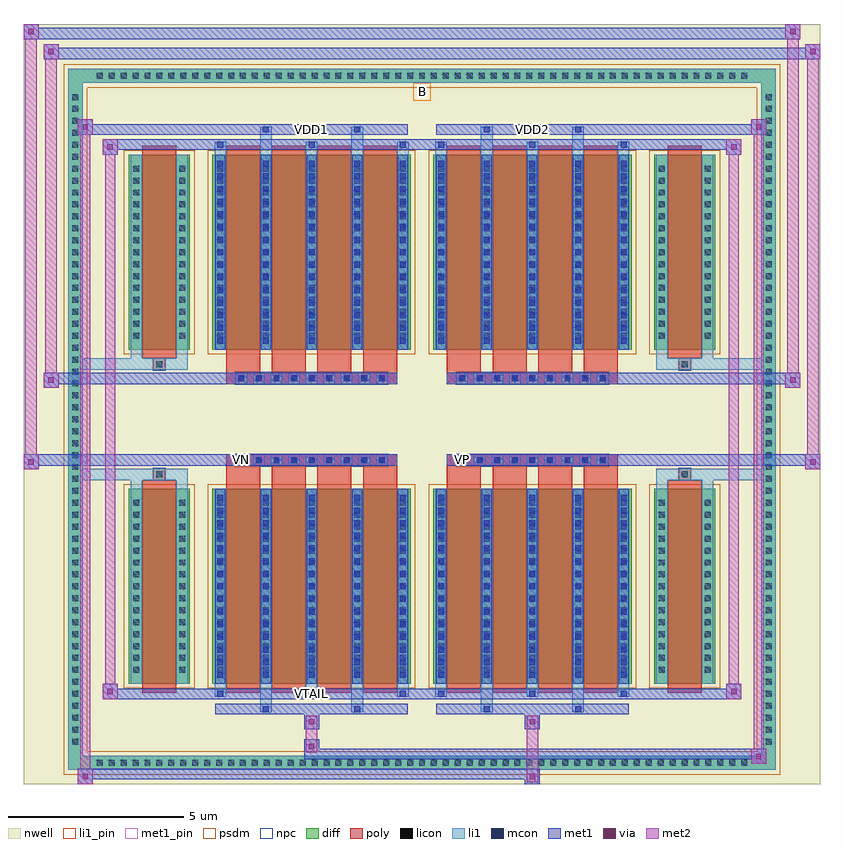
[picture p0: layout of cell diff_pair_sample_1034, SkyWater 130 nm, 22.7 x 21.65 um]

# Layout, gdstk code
import gdstk
lib = gdstk.Library(unit=1e-6, precision=5e-09)
def R(c, l, rs):  # rectangles x0, y0, x1, y1
    for r in rs: c.add(gdstk.rectangle(r[:2], r[2:], *l))
def A(c, l, x, y, w, h, nx, ny, dx, dy):  # array of equal rectangles
    R(c, l, [(x+i*dx, y+j*dy, x+i*dx+w, y+j*dy+h) for i in range(nx) for j in range(ny)])
def P(c, l, *ps):  # polygons
    for p in ps: c.add(gdstk.Polygon(p, *l))
nwell = (64, 20)
diff = (65, 20)
poly = (66, 20)
licon = (66, 44)
li1_pin = (67, 16)
li1 = (67, 20)
mcon = (67, 44)
met1_pin = (68, 16)
met1 = (68, 20)
via = (68, 44)
met2 = (69, 20)
psdm = (94, 20)
npc = (95, 20)

diff_pair_sample_1034 = lib.new_cell('diff_pair_sample_1034')
R(diff_pair_sample_1034, nwell, [(-11.35,-10.39,11.35,11.26), (-8.67,-8.58,-0.01,-0.8), (0.01,-8.58,8.67,-0.8), (-8.67,0.8,-0.01,8.58), (0.01,0.8,8.67,8.58)])
A(diff_pair_sample_1034, diff, -9.385, -9.99, 0.41, 0.41, 55, 2, 0.34, 19.57)
A(diff_pair_sample_1034, diff, -10.08, -9.385, 0.41, 0.41, 1, 55, 0, 0.34)
A(diff_pair_sample_1034, diff, 9.67, -9.385, 0.41, 0.41, 1, 55, 0, 0.34)
R(diff_pair_sample_1034, diff, [(-9.385,-9.99,9.385,-9.58), (-10.08,-9.385,-9.67,9.385), (9.67,-9.385,10.08,9.385), (-8.36,-7.535,-6.61,-1.985), (-5.97,-7.535,-0.32,-1.985), (0.32,-7.535,5.97,-1.985), (6.61,-7.535,8.36,-1.985), (-8.36,1.985,-6.61,7.535), (-5.97,1.985,-0.32,7.535), (0.32,1.985,5.97,7.535), (6.61,1.985,8.36,7.535), (-9.385,9.58,9.385,9.99)])
P(diff_pair_sample_1034, diff, [(10.08,9.99),(-10.08,9.99),(-10.08,-9.58),(-9.67,-9.58),(-9.67,9.58),(9.67,9.58),(9.67,-9.58),(-9.67,-9.58),(-10.08,-9.58),(-10.08,-9.99),(10.08,-9.99)])
A(diff_pair_sample_1034, poly, -5.58, -7.785, 0.97, 6.05, 4, 2, 1.3, 9.52)
A(diff_pair_sample_1034, poly, 0.71, -7.785, 0.97, 6.05, 4, 2, 1.3, 9.52)
A(diff_pair_sample_1034, poly, -5.58, -1.735, 0.97, 0.405, 4, 2, 1.3, 3.065)
A(diff_pair_sample_1034, poly, 0.71, -1.735, 0.97, 0.405, 4, 2, 1.3, 3.065)
A(diff_pair_sample_1034, poly, -5.31, -1.33, 0.33, 0.33, 9, 2, 0.5, 2.33)
A(diff_pair_sample_1034, poly, 0.98, -1.33, 0.33, 0.33, 9, 2, 0.5, 2.33)
R(diff_pair_sample_1034, poly, [(-7.97,-7.785,-7,-1.735), (7,-7.785,7.97,-1.735), (-7.65,-1.735,-7.32,-1.405), (-7.65,-1.735,-7.32,-1.405), (7.32,-1.735,7.65,-1.405), (7.32,-1.735,7.65,-1.405), (-5.58,-1.33,-0.71,-1), (0.71,-1.33,5.58,-1), (-5.58,1,-0.71,1.33), (0.71,1,5.58,1.33), (-7.65,1.405,-7.32,1.735), (-7.65,1.405,-7.32,1.735), (7.32,1.405,7.65,1.735), (7.32,1.405,7.65,1.735), (-7.97,1.735,-7,7.785), (7,1.735,7.97,7.785)])
A(diff_pair_sample_1034, licon, -9.265, -9.87, 0.17, 0.17, 55, 2, 0.34, 19.57)
A(diff_pair_sample_1034, licon, -9.96, -9.265, 0.17, 0.17, 1, 55, 0, 0.34)
A(diff_pair_sample_1034, licon, 9.79, -9.265, 0.17, 0.17, 1, 55, 0, 0.34)
A(diff_pair_sample_1034, licon, -8.22, -7.225, 0.17, 0.17, 1, 15, 0, 0.34)
A(diff_pair_sample_1034, licon, -6.92, -7.225, 0.17, 0.17, 1, 15, 0, 0.34)
A(diff_pair_sample_1034, licon, -5.83, -7.225, 0.17, 0.17, 5, 15, 1.3, 0.34)
A(diff_pair_sample_1034, licon, 0.46, -7.225, 0.17, 0.17, 5, 15, 1.3, 0.34)
A(diff_pair_sample_1034, licon, 6.75, -7.225, 0.17, 0.17, 1, 15, 0, 0.34)
A(diff_pair_sample_1034, licon, 8.05, -7.225, 0.17, 0.17, 1, 15, 0, 0.34)
A(diff_pair_sample_1034, licon, -5.23, -1.25, 0.17, 0.17, 9, 2, 0.5, 2.33)
A(diff_pair_sample_1034, licon, 1.06, -1.25, 0.17, 0.17, 9, 2, 0.5, 2.33)
A(diff_pair_sample_1034, licon, -8.22, 2.295, 0.17, 0.17, 1, 15, 0, 0.34)
A(diff_pair_sample_1034, licon, -6.92, 2.295, 0.17, 0.17, 1, 15, 0, 0.34)
A(diff_pair_sample_1034, licon, -5.83, 2.295, 0.17, 0.17, 5, 15, 1.3, 0.34)
A(diff_pair_sample_1034, licon, 0.46, 2.295, 0.17, 0.17, 5, 15, 1.3, 0.34)
A(diff_pair_sample_1034, licon, 6.75, 2.295, 0.17, 0.17, 1, 15, 0, 0.34)
A(diff_pair_sample_1034, licon, 8.05, 2.295, 0.17, 0.17, 1, 15, 0, 0.34)
R(diff_pair_sample_1034, licon, [(-7.57,-1.655,-7.4,-1.485), (7.4,-1.655,7.57,-1.485), (-7.57,1.485,-7.4,1.655), (7.4,1.485,7.57,1.655)])
R(diff_pair_sample_1034, li1_pin, [(-0.25,9.08,0.25,9.58)])
A(diff_pair_sample_1034, li1, -9.345, -9.95, 0.33, 0.33, 55, 2, 0.34, 19.57)
A(diff_pair_sample_1034, li1, -10.04, -9.345, 0.33, 0.33, 1, 55, 0, 0.34)
A(diff_pair_sample_1034, li1, 9.71, -9.345, 0.33, 0.33, 1, 55, 0, 0.34)
A(diff_pair_sample_1034, li1, -5.91, -7.91, 0.33, 0.375, 3, 2, 2.6, 15.445)
A(diff_pair_sample_1034, li1, -5.83, -7.91, 0.17, 0.17, 3, 2, 2.6, 15.65)
A(diff_pair_sample_1034, li1, 0.38, -7.91, 0.33, 0.375, 3, 2, 2.6, 15.445)
A(diff_pair_sample_1034, li1, 0.46, -7.91, 0.17, 0.17, 3, 2, 2.6, 15.65)
A(diff_pair_sample_1034, li1, -5.91, -7.535, 0.33, 5.55, 5, 2, 1.3, 9.52)
A(diff_pair_sample_1034, li1, 0.38, -7.535, 0.33, 5.55, 5, 2, 1.3, 9.52)
A(diff_pair_sample_1034, li1, -5.83, -7.365, 0.17, 0.17, 5, 15, 1.3, 0.36)
A(diff_pair_sample_1034, li1, -5.83, -7.365, 0.17, 5.21, 5, 2, 1.3, 9.52)
A(diff_pair_sample_1034, li1, 0.46, -7.365, 0.17, 0.17, 5, 15, 1.3, 0.36)
A(diff_pair_sample_1034, li1, 0.46, -7.365, 0.17, 5.21, 5, 2, 1.3, 9.52)
A(diff_pair_sample_1034, li1, -8.3, -7.305, 0.33, 0.33, 1, 15, 0, 0.34)
A(diff_pair_sample_1034, li1, -7, -7.305, 0.33, 0.33, 1, 15, 0, 0.34)
A(diff_pair_sample_1034, li1, -5.91, -7.305, 0.33, 0.33, 5, 15, 1.3, 0.34)
A(diff_pair_sample_1034, li1, 0.38, -7.305, 0.33, 0.33, 5, 15, 1.3, 0.34)
A(diff_pair_sample_1034, li1, 6.67, -7.305, 0.33, 0.33, 1, 15, 0, 0.34)
A(diff_pair_sample_1034, li1, 7.97, -7.305, 0.33, 0.33, 1, 15, 0, 0.34)
A(diff_pair_sample_1034, li1, -5.31, -1.33, 0.33, 0.33, 9, 2, 0.5, 2.33)
A(diff_pair_sample_1034, li1, 0.98, -1.33, 0.33, 0.33, 9, 2, 0.5, 2.33)
A(diff_pair_sample_1034, li1, -5.83, 2.155, 0.17, 0.17, 5, 15, 1.3, 0.36)
A(diff_pair_sample_1034, li1, 0.46, 2.155, 0.17, 0.17, 5, 15, 1.3, 0.36)
A(diff_pair_sample_1034, li1, -8.3, 2.215, 0.33, 0.33, 1, 15, 0, 0.34)
A(diff_pair_sample_1034, li1, -7, 2.215, 0.33, 0.33, 1, 15, 0, 0.34)
A(diff_pair_sample_1034, li1, -5.91, 2.215, 0.33, 0.33, 5, 15, 1.3, 0.34)
A(diff_pair_sample_1034, li1, 0.38, 2.215, 0.33, 0.33, 5, 15, 1.3, 0.34)
A(diff_pair_sample_1034, li1, 6.67, 2.215, 0.33, 0.33, 1, 15, 0, 0.34)
A(diff_pair_sample_1034, li1, 7.97, 2.215, 0.33, 0.33, 1, 15, 0, 0.34)
R(diff_pair_sample_1034, li1, [(-10.08,-9.99,-9.67,-9.58), (-10.08,-9.99,-9.67,-9.58), (-9.67,-9.99,9.67,-9.58), (9.67,-9.99,10.08,-9.58), (9.67,-9.99,10.08,-9.58), (-10.08,-9.58,-9.67,9.58), (9.67,-9.58,10.08,9.58), (-4.61,-8.34,-4.28,-7.535), (-4.53,-8.34,-4.36,-8.17), (-2.01,-8.34,-1.68,-7.535), (-1.93,-8.34,-1.76,-8.17), (1.68,-8.34,2.01,-7.535), (1.76,-8.34,1.93,-8.17), (4.28,-8.34,4.61,-7.535), (4.36,-8.34,4.53,-8.17), (-8.3,-7.535,-7.97,-1.985), (-7,-7.535,-6.67,-1.985), (6.67,-7.535,7,-1.985), (7.97,-7.535,8.3,-1.985), (-8.3,-1.985,-7.97,-1.405), (-7,-1.985,-6.67,-1.405), (6.67,-1.985,7,-1.405), (7.97,-1.985,8.3,-1.405), (-10.08,-1.735,-7.65,-1.405), (-8.3,-1.735,-7.65,-1.405), (-7.65,-1.735,-7.32,-1.405), (-7.32,-1.735,-6.67,-1.405), (6.67,-1.735,7.32,-1.405), (7.32,-1.735,7.65,-1.405), (7.32,-1.735,10.08,-1.405), (7.65,-1.735,8.3,-1.405), (-10.08,1.405,-7.65,1.735), (-8.3,1.405,-7.65,1.735), (-8.3,1.405,-7.97,1.985), (-7.65,1.405,-7.32,1.735), (-7.32,1.405,-6.67,1.735), (-7,1.405,-6.67,1.985), (6.67,1.405,7.32,1.735), (6.67,1.405,7,1.985), (7.32,1.405,7.65,1.735), (7.32,1.405,10.08,1.735), (7.65,1.405,8.3,1.735), (7.97,1.405,8.3,1.985), (-8.3,1.985,-7.97,7.535), (-7,1.985,-6.67,7.535), (6.67,1.985,7,7.535), (7.97,1.985,8.3,7.535), (-4.61,7.535,-4.28,8.34), (-2.01,7.535,-1.68,8.34), (1.68,7.535,2.01,8.34), (4.28,7.535,4.61,8.34), (-4.53,8.17,-4.36,8.34), (-1.93,8.17,-1.76,8.34), (1.76,8.17,1.93,8.34), (4.36,8.17,4.53,8.34), (-10.08,9.58,-9.67,9.99), (-10.08,9.58,-9.67,9.99), (-9.67,9.58,9.67,9.99), (9.67,9.58,10.08,9.99), (9.67,9.58,10.08,9.99)])
A(diff_pair_sample_1034, mcon, -5.83, -7.91, 0.17, 0.17, 3, 2, 2.6, 15.65)
A(diff_pair_sample_1034, mcon, 0.46, -7.91, 0.17, 0.17, 3, 2, 2.6, 15.65)
A(diff_pair_sample_1034, mcon, -5.83, -7.365, 0.17, 0.17, 5, 15, 1.3, 0.36)
A(diff_pair_sample_1034, mcon, 0.46, -7.365, 0.17, 0.17, 5, 15, 1.3, 0.36)
A(diff_pair_sample_1034, mcon, -5.23, -1.25, 0.17, 0.17, 9, 2, 0.5, 2.33)
A(diff_pair_sample_1034, mcon, 1.06, -1.25, 0.17, 0.17, 9, 2, 0.5, 2.33)
A(diff_pair_sample_1034, mcon, -5.83, 2.155, 0.17, 0.17, 5, 15, 1.3, 0.36)
A(diff_pair_sample_1034, mcon, 0.46, 2.155, 0.17, 0.17, 5, 15, 1.3, 0.36)
R(diff_pair_sample_1034, mcon, [(-4.53,-8.34,-4.36,-8.17), (-1.93,-8.34,-1.76,-8.17), (1.76,-8.34,1.93,-8.17), (4.36,-8.34,4.53,-8.17), (-4.53,8.17,-4.36,8.34), (-1.93,8.17,-1.76,8.34), (1.76,8.17,1.93,8.34), (4.36,8.17,4.53,8.34)])
R(diff_pair_sample_1034, met1_pin, [(-3.28,-7.95,-3.01,-7.68), (-5.28,-1.29,-5.01,-1.02), (1.01,-1.29,1.28,-1.02), (-3.28,8.13,-3.01,8.4), (3.01,8.13,3.28,8.4)])
A(diff_pair_sample_1034, met1, -5.89, -7.97, 0.29, 0.29, 3, 2, 2.6, 15.65)
A(diff_pair_sample_1034, met1, 0.4, -7.97, 0.29, 0.29, 3, 2, 2.6, 15.65)
A(diff_pair_sample_1034, met1, -5.89, -7.535, 0.29, 5.55, 5, 2, 1.3, 9.52)
A(diff_pair_sample_1034, met1, 0.4, -7.535, 0.29, 5.55, 5, 2, 1.3, 9.52)
A(diff_pair_sample_1034, met1, -5.89, -7.425, 0.29, 0.29, 5, 15, 1.3, 0.36)
A(diff_pair_sample_1034, met1, 0.4, -7.425, 0.29, 0.29, 5, 15, 1.3, 0.36)
A(diff_pair_sample_1034, met1, -5.29, -1.31, 0.29, 0.29, 9, 2, 0.5, 2.33)
A(diff_pair_sample_1034, met1, 1, -1.31, 0.29, 0.29, 9, 2, 0.5, 2.33)
A(diff_pair_sample_1034, met1, -5.89, 2.095, 0.29, 0.29, 5, 15, 1.3, 0.36)
A(diff_pair_sample_1034, met1, 0.4, 2.095, 0.29, 0.29, 5, 15, 1.3, 0.36)
R(diff_pair_sample_1034, met1, [(-9.81,-10.39,-9.38,-9.96), (2.93,-10.39,3.36,-9.96), (-9.81,-10.25,3.36,-9.96), (9.38,-9.82,9.81,-9.39), (-3.36,-9.68,9.81,-9.39), (-3.36,-9.54,-2.93,-9.11), (-3.36,-8.83,-2.93,-8.4), (2.93,-8.83,3.36,-8.4), (-5.89,-8.4,-0.4,-8.11), (-4.59,-8.4,-4.3,-8.11), (-1.99,-8.4,-1.7,-8.11), (0.4,-8.4,5.89,-8.11), (1.7,-8.4,1.99,-8.11), (4.3,-8.4,4.59,-8.11), (-9.1,-7.97,-8.67,-7.54), (-9.1,-7.97,-5.89,-7.68), (-5.89,-7.97,-0.4,-7.68), (-0.4,-7.97,0.4,-7.68), (0.4,-7.97,5.89,-7.68), (5.89,-7.97,9.1,-7.68), (8.67,-7.97,9.1,-7.54), (-11.35,-1.43,-10.92,-1), (10.92,-1.43,11.35,-1), (-11.35,-1.33,-0.71,-1), (-5.58,-1.33,-0.71,-1), (0.71,-1.33,5.58,-1), (0.71,-1.33,11.35,-1), (-10.78,0.9,-10.35,1.33), (10.35,0.9,10.78,1.33), (-10.78,1,-5.58,1.33), (-5.58,1,-0.71,1.33), (0.71,1,5.58,1.33), (5.58,1,10.78,1.33), (-9.1,7.54,-8.67,7.97), (8.67,7.54,9.1,7.97), (-9.1,7.68,-5.89,7.97), (-5.89,7.68,-0.4,7.97), (-0.4,7.68,0.4,7.97), (0.4,7.68,5.89,7.97), (5.89,7.68,9.1,7.97), (-9.81,8.11,-9.38,8.54), (-9.81,8.11,-5.89,8.4), (-5.89,8.11,-0.4,8.4), (-4.59,8.11,-4.3,8.4), (-1.99,8.11,-1.7,8.4), (0.4,8.11,5.89,8.4), (1.7,8.11,1.99,8.4), (4.3,8.11,4.59,8.4), (5.89,8.11,9.81,8.4), (9.38,8.11,9.81,8.54), (-10.78,10.26,-10.35,10.69), (-10.78,10.26,-8.67,10.59), (-8.67,10.26,8.67,10.59), (8.67,10.26,11.35,10.59), (10.92,10.26,11.35,10.69), (-11.35,10.83,-10.92,11.26), (-11.35,10.83,-8.67,11.16), (-8.67,10.83,8.67,11.16), (8.67,10.83,10.78,11.16), (10.35,10.83,10.78,11.26)])
R(diff_pair_sample_1034, via, [(-9.67,-10.25,-9.52,-10.1), (3.07,-10.25,3.22,-10.1), (9.52,-9.68,9.67,-9.53), (-3.22,-9.4,-3.07,-9.25), (-3.22,-8.69,-3.07,-8.54), (3.07,-8.69,3.22,-8.54), (-8.96,-7.83,-8.81,-7.68), (8.81,-7.83,8.96,-7.68), (-11.21,-1.29,-11.06,-1.14), (11.06,-1.29,11.21,-1.14), (-10.64,1.04,-10.49,1.19), (10.49,1.04,10.64,1.19), (-8.96,7.68,-8.81,7.83), (8.81,7.68,8.96,7.83), (-9.67,8.25,-9.52,8.4), (9.52,8.25,9.67,8.4), (-10.64,10.4,-10.49,10.55), (11.06,10.4,11.21,10.55), (-11.21,10.97,-11.06,11.12), (10.49,10.97,10.64,11.12)])
R(diff_pair_sample_1034, met2, [(-9.81,-10.39,-9.38,-9.96), (-9.74,-10.39,-9.45,8.54), (-9.45,-10.39,-9.38,-9.96), (-9.76,-10.34,-9.43,-10.01), (2.98,-10.34,3.31,-10.01), (2.98,-10.01,3.31,-8.78), (9.38,-9.82,9.81,-9.39), (9.45,-9.82,9.74,8.54), (9.74,-9.82,9.81,-9.39), (9.43,-9.77,9.76,-9.44), (-3.31,-9.49,-2.98,-9.16), (-3.31,-9.16,-2.98,-8.78), (-3.31,-8.78,-2.98,-8.45), (2.98,-8.78,3.31,-8.45), (-9.1,-7.97,-8.67,-7.54), (-9.03,-7.97,-8.74,7.97), (-8.74,-7.97,-8.67,-7.54), (8.67,-7.97,9.1,-7.54), (8.74,-7.97,9.03,7.97), (9.03,-7.97,9.1,-7.54), (-9.05,-7.92,-8.72,-7.59), (8.72,-7.92,9.05,-7.59), (-11.35,-1.43,-10.92,-1), (-11.3,-1.43,-10.97,11.26), (-10.97,-1.43,-10.92,-1), (10.92,-1.43,11.35,-1), (10.97,-1.43,11.3,10.69), (11.3,-1.43,11.35,-1), (-11.3,-1.38,-10.97,-1.05), (10.97,-1.38,11.3,-1.05), (-10.78,0.9,-10.35,1.33), (-10.73,0.9,-10.4,10.69), (-10.4,0.9,-10.35,1.33), (10.35,0.9,10.78,1.33), (10.4,0.9,10.73,11.26), (10.73,0.9,10.78,1.33), (-10.73,0.95,-10.4,1.28), (10.4,0.95,10.73,1.28), (-9.1,7.54,-8.67,7.97), (-8.74,7.54,-8.67,7.97), (8.67,7.54,9.1,7.97), (9.03,7.54,9.1,7.97), (-9.05,7.59,-8.72,7.92), (8.72,7.59,9.05,7.92), (-9.81,8.11,-9.38,8.54), (-9.45,8.11,-9.38,8.54), (9.38,8.11,9.81,8.54), (9.74,8.11,9.81,8.54), (-9.76,8.16,-9.43,8.49), (9.43,8.16,9.76,8.49), (-10.78,10.26,-10.35,10.69), (-10.4,10.26,-10.35,10.69), (10.92,10.26,11.35,10.69), (11.3,10.26,11.35,10.69), (-10.73,10.31,-10.4,10.64), (10.97,10.31,11.3,10.64), (-11.35,10.83,-10.92,11.26), (-10.97,10.83,-10.92,11.26), (10.35,10.83,10.78,11.26), (10.73,10.83,10.78,11.26), (-11.3,10.88,-10.97,11.21), (10.4,10.88,10.73,11.21)])
R(diff_pair_sample_1034, psdm, [(-8.49,-7.665,-6.48,-1.855), (-6.1,-7.665,-0.19,-1.855), (0.19,-7.665,6.1,-1.855), (6.48,-7.665,8.49,-1.855), (-8.49,1.855,-6.48,7.665), (-6.1,1.855,-0.19,7.665), (0.19,1.855,6.1,7.665), (6.48,1.855,8.49,7.665)])
P(diff_pair_sample_1034, psdm, [(10.21,10.12),(-10.21,10.12),(-10.21,-9.45),(-9.54,-9.45),(-9.54,9.45),(9.54,9.45),(9.54,-9.45),(-9.54,-9.45),(-10.21,-9.45),(-10.21,-10.12),(10.21,-10.12)])
A(diff_pair_sample_1034, npc, -5.33, -1.35, 0.37, 0.37, 9, 2, 0.5, 2.33)
A(diff_pair_sample_1034, npc, 0.96, -1.35, 0.37, 0.37, 9, 2, 0.5, 2.33)
R(diff_pair_sample_1034, npc, [(-7.67,-1.755,-7.3,-1.385), (7.3,-1.755,7.67,-1.385), (-5.33,-1.35,-4.46,-0.98), (-5.33,-1.35,-4.46,-0.98), (-4.83,-1.35,-3.96,-0.98), (-4.83,-1.35,-3.96,-0.98), (-4.33,-1.35,-3.46,-0.98), (-4.33,-1.35,-3.46,-0.98), (-3.83,-1.35,-2.96,-0.98), (-3.83,-1.35,-2.96,-0.98), (-3.33,-1.35,-2.46,-0.98), (-3.33,-1.35,-2.46,-0.98), (-2.83,-1.35,-1.96,-0.98), (-2.83,-1.35,-1.96,-0.98), (-2.33,-1.35,-1.46,-0.98), (-2.33,-1.35,-1.46,-0.98), (-1.83,-1.35,-0.96,-0.98), (-1.83,-1.35,-0.96,-0.98), (0.96,-1.35,1.83,-0.98), (0.96,-1.35,1.83,-0.98), (1.46,-1.35,2.33,-0.98), (1.46,-1.35,2.33,-0.98), (1.96,-1.35,2.83,-0.98), (1.96,-1.35,2.83,-0.98), (2.46,-1.35,3.33,-0.98), (2.46,-1.35,3.33,-0.98), (2.96,-1.35,3.83,-0.98), (2.96,-1.35,3.83,-0.98), (3.46,-1.35,4.33,-0.98), (3.46,-1.35,4.33,-0.98), (3.96,-1.35,4.83,-0.98), (3.96,-1.35,4.83,-0.98), (4.46,-1.35,5.33,-0.98), (4.46,-1.35,5.33,-0.98), (-5.33,0.98,-4.46,1.35), (-5.33,0.98,-4.46,1.35), (-4.83,0.98,-3.96,1.35), (-4.83,0.98,-3.96,1.35), (-4.33,0.98,-3.46,1.35), (-4.33,0.98,-3.46,1.35), (-3.83,0.98,-2.96,1.35), (-3.83,0.98,-2.96,1.35), (-3.33,0.98,-2.46,1.35), (-3.33,0.98,-2.46,1.35), (-2.83,0.98,-1.96,1.35), (-2.83,0.98,-1.96,1.35), (-2.33,0.98,-1.46,1.35), (-2.33,0.98,-1.46,1.35), (-1.83,0.98,-0.96,1.35), (-1.83,0.98,-0.96,1.35), (0.96,0.98,1.83,1.35), (0.96,0.98,1.83,1.35), (1.46,0.98,2.33,1.35), (1.46,0.98,2.33,1.35), (1.96,0.98,2.83,1.35), (1.96,0.98,2.83,1.35), (2.46,0.98,3.33,1.35), (2.46,0.98,3.33,1.35), (2.96,0.98,3.83,1.35), (2.96,0.98,3.83,1.35), (3.46,0.98,4.33,1.35), (3.46,0.98,4.33,1.35), (3.96,0.98,4.83,1.35), (3.96,0.98,4.83,1.35), (4.46,0.98,5.33,1.35), (4.46,0.98,5.33,1.35), (-7.67,1.385,-7.3,1.755), (7.3,1.385,7.67,1.755)])
diff_pair_sample_1034.add(gdstk.Label('VTAIL', (-3.145,-7.815), layer=68, texttype=5))
diff_pair_sample_1034.add(gdstk.Label('VN', (-5.145,-1.155), layer=68, texttype=5))
diff_pair_sample_1034.add(gdstk.Label('VP', (1.145,-1.155), layer=68, texttype=5))
diff_pair_sample_1034.add(gdstk.Label('B', (0,9.33), layer=67, texttype=5))
diff_pair_sample_1034.add(gdstk.Label('VDD2', (3.145,8.265), layer=68, texttype=5))
diff_pair_sample_1034.add(gdstk.Label('VDD1', (-3.145,8.265), layer=68, texttype=5))

lib.write_gds('diff_pair_sample_1034.gds')
